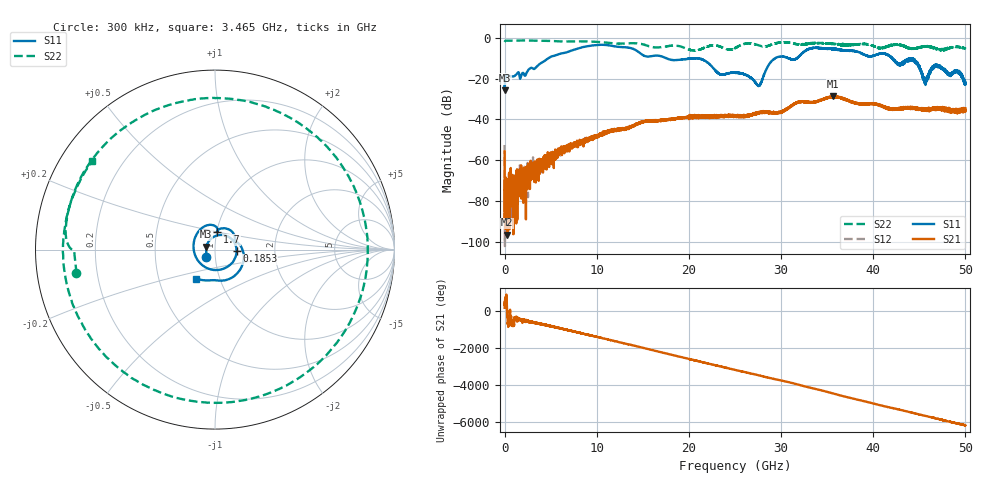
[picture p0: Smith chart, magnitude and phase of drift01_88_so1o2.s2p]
!Created with skrf (http://scikit-rf.org).
# Hz S RI R 50.0
!freq ReS11 ImS11 ReS21 ImS21 ReS12 ImS12 ReS22 ImS22
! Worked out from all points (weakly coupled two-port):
!   10001 points, 300 kHz to 50 GHz, reference 50 ohm
!   highest |S21| = -28.74 dB at 35.6 GHz (marker M1); lowest = -96.6 dB at 300.3 MHz (marker M2)
!   lowest |S11| = -25.8 dB at 5.3 MHz (marker M3), VSWR 1.11, Z = 45.3 + j1.42 ohm
!   |S11| at or under -10 dB: start of sweep to 4.77 GHz; 17.52 GHz to 29.37 GHz (11.86 GHz wide, 50.6 % of centre); 42.05 GHz to end of sweep (the widest 3 of 9)
!   |S22| runs from -6.4 to -1.4 dB; largest |S21 - S12| = 0.0035
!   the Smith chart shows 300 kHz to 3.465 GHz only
!   S11 on the Smith chart (normalised r, x): 300 kHz: 0.91, -0.08; 185.3 MHz: 1.27, -0.02; 1.7 GHz: 1.00, +0.20; 3.465 GHz: 0.77, -0.26
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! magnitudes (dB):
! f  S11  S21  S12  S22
! 300 kHz  -23.8  -55.8  -52.6  -2.1
! 5.3 MHz  -25.8  -78.5  -75.8  -2.1
! 185.3 MHz  -18.4  -83.1  -75.9  -1.4
! 300.3 MHz  -18.3  -96.6  -76.6  -1.4
! 1.7 GHz  -20.1  -66.8  -65.8  -1.4
! 3.465 GHz  -14.3  -64.9  -63.7  -1.5
! 8.335 GHz  -4.8  -51.2  -50.7  -1.8
! 16.67 GHz  -8.8  -40.7  -40.8  -4.8
! 21.2 GHz  -10.3  -38.3  -38.8  -5.8
! 23.39 GHz  -18.0  -38.9  -38.4  -4.4
! 25 GHz  -17.0  -38.5  -38.6  -5.1
! 27.59 GHz  -23.5  -36.8  -36.9  -3.8
! 29.28 GHz  -10.3  -36.6  -36.9  -2.9
! 31.47 GHz  -10.8  -32.5  -32.5  -2.9
! 33.34 GHz  -5.1  -31.9  -31.6  -2.7
! 35.6 GHz  -5.5  -28.7  -29.0  -3.0
! 41.67 GHz  -8.7  -34.4  -34.9  -4.1
! 42.79 GHz  -13.3  -34.8  -34.9  -3.6
! 44.51 GHz  -11.5  -34.5  -34.7  -5.5
! 45.63 GHz  -20.5  -35.8  -35.3  -4.2
! 46.96 GHz  -13.3  -34.6  -34.8  -5.7
! 50 GHz  -22.1  -34.5  -34.8  -5.4
